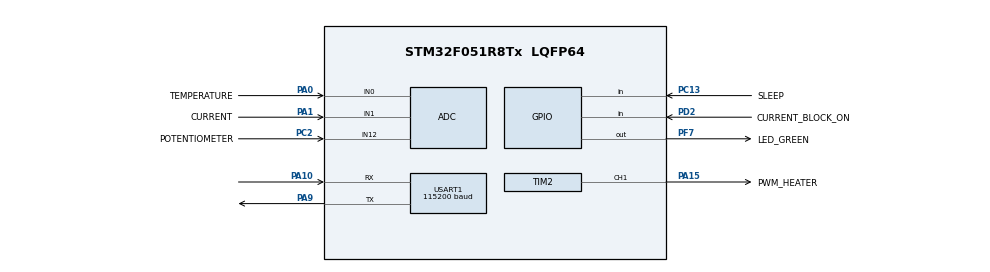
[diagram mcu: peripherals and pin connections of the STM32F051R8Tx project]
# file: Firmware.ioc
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ADC.ClockPrescaler=ADC_CLOCK_ASYNC_DIV1
ADC.ContinuousConvMode=ENABLE
ADC.DMAContinuousRequests=ENABLE
ADC.DiscontinuousConvMode=DISABLE
ADC.EOCSelection=ADC_EOC_SINGLE_CONV
ADC.ExternalTrigConv=ADC_SOFTWARE_START
ADC.Overrun=ADC_OVR_DATA_PRESERVED
ADC.SamplingTime=ADC_SAMPLETIME_239CYCLES_5
Dma.ADC.1.Direction=DMA_PERIPH_TO_MEMORY
Dma.ADC.1.Instance=DMA1_Channel1
Dma.ADC.1.MemDataAlignment=DMA_MDATAALIGN_HALFWORD
Dma.ADC.1.MemInc=DMA_MINC_ENABLE
Dma.ADC.1.Mode=DMA_CIRCULAR
Dma.ADC.1.PeriphDataAlignment=DMA_PDATAALIGN_HALFWORD
Dma.ADC.1.PeriphInc=DMA_PINC_DISABLE
Dma.ADC.1.Priority=DMA_PRIORITY_LOW
Dma.Request0=USART1_RX
Dma.Request1=ADC
Dma.USART1_RX.0.Direction=DMA_PERIPH_TO_MEMORY
Dma.USART1_RX.0.Instance=DMA1_Channel3
Dma.USART1_RX.0.MemDataAlignment=DMA_MDATAALIGN_BYTE
Dma.USART1_RX.0.MemInc=DMA_MINC_ENABLE
Dma.USART1_RX.0.Mode=DMA_NORMAL
Dma.USART1_RX.0.PeriphDataAlignment=DMA_PDATAALIGN_BYTE
Dma.USART1_RX.0.PeriphInc=DMA_PINC_DISABLE
Dma.USART1_RX.0.Priority=DMA_PRIORITY_LOW
Mcu.Family=STM32F0
Mcu.Name=STM32F051R8Tx
Mcu.Package=LQFP64
NVIC.DMA1_Channel1_IRQn=true\:0\:0\:false\:false\:true\:false\:true\:true
NVIC.DMA1_Channel2_3_IRQn=true\:0\:0\:false\:false\:true\:false\:true\:true
NVIC.TIM3_IRQn=true\:0\:0\:false\:false\:true\:true\:true\:true
NVIC.USART1_IRQn=true\:0\:0\:true\:false\:true\:true\:true\:true
PA0.GPIO_Label=TEMPERATURE
PA0.Mode=IN0
PA0.Signal=ADC_IN0
PA1.GPIO_Label=CURRENT
PA1.Mode=IN1
PA1.Signal=ADC_IN1
PA10.Mode=Asynchronous
PA10.Signal=USART1_RX
PA13.Mode=Serial_Wire
PA13.Signal=SYS_SWDIO
PA14.Mode=Serial_Wire
PA14.Signal=SYS_SWCLK
PA15.GPIO_Label=PWM_HEATER
PA15.GPIO_PuPd=GPIO_PULLDOWN
PA15.GPIO_Speed=GPIO_SPEED_FREQ_HIGH
PA15.Signal=S_TIM2_CH1_ETR
PA9.Mode=Asynchronous
PA9.Signal=USART1_TX
PC13.GPIO_Label=SLEEP
PC13.GPIO_PuPd=GPIO_PULLUP
PC13.Signal=GPIO_Input
PC2.GPIO_Label=POTENTIOMETER
PC2.Mode=IN12
PC2.Signal=ADC_IN12
PD2.GPIO_Label=CURRENT_BLOCK_ON
PD2.GPIO_PuPd=GPIO_PULLDOWN
PD2.Signal=GPIO_Input
PF0-OSC_IN.Mode=HSE-External-Oscillator
PF0-OSC_IN.Signal=RCC_OSC_IN
PF1-OSC_OUT.Mode=HSE-External-Oscillator
PF1-OSC_OUT.Signal=RCC_OSC_OUT
PF7.GPIO_Label=LED_GREEN
PF7.Signal=GPIO_Output
ProjectManager.HeapSize=0x200
ProjectManager.StackSize=0x400
ProjectManager.TargetToolchain=STM32CubeIDE
RCC.APB1Freq_Value=8000000
RCC.APB1TimFreq_Value=8000000
SH.S_TIM2_CH1_ETR.0=TIM2_CH1,PWM Generation1 CH1
TIM2.Channel-PWM\ Generation1\ CH1=TIM_CHANNEL_1
TIM2.Channel-PWM\ Generation2\ CH2=TIM_CHANNEL_2
TIM2.Period=63999
TIM2.Prescaler=1
TIM2.TIM_MasterOutputTrigger=TIM_TRGO_UPDATE
TIM2.TIM_MasterSlaveMode=TIM_MASTERSLAVEMODE_ENABLE
TIM3.Period=19999
TIM3.Prescaler=199
USART1.BaudRate=115200
USART1.VirtualMode-Asynchronous=VM_ASYNC
VP_TIM2_VS_ClockSourceINT.Mode=Internal
VP_TIM3_VS_ClockSourceINT.Mode=Internal
board=custom

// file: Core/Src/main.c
/* USER CODE BEGIN Header */
/**
  ******************************************************************************
  * @file           : main.c
  * @brief          : Main program body
  ******************************************************************************
  * @attention
  *
  * Copyright (c) 2024 STMicroelectronics.
  * All rights reserved.
  *
  * This software is licensed under terms that can be found in the LICENSE file
  * in the root directory of this software component.
  * If no LICENSE file comes with this software, it is provided AS-IS.
  *
  ******************************************************************************
  */
/* USER CODE END Header */
#include "main.h"

/* USER CODE BEGIN Includes */
#include "tools/tools.h"
/* USER CODE END Includes */

/* USER CODE BEGIN PTD */
typedef enum{
	MANUALLY_CONTROL,
	FEEDBACK_CONTROL,
	COMPUTE_MPC_MODEL,
	SAVE_REGISTER_TO_MEMORY
}OPERATIONS;
/* USER CODE END PTD */

/* USER CODE BEGIN PD */
#define row_a 1                     /* Dimension of system matrix A */
#define column_b 1                  /* Columns of input matrix B */
#define row_c 1                     /* Dimension of output matrix C */
#define column_e 1                  /* Columns of disturbance matrix E */
#define iterations 1000             /* Simulation for finding kalman gain K */
#define N 5                         /* MPC control horizon */
#define sampleTime_mpc 2.0f         /* Sample time of discrete model of MPC */
#define sampleTime_kf 1.08f         /* Sample time of discrete model of KF */
#define MAX_PARAMETERS 49           /* Total elements for the modbus parameters */
/* USER CODE END PD */

ADC_HandleTypeDef hadc;
DMA_HandleTypeDef hdma_adc;

TIM_HandleTypeDef htim2;
TIM_HandleTypeDef htim3;

UART_HandleTypeDef huart1;
DMA_HandleTypeDef hdma_usart1_rx;

/* USER CODE BEGIN PV */
MPC mpc = { 0 };
float y[row_c] = { 0 };
float u[column_b] = { 0 };
static const float d[column_e] = { 0 };
float r[row_c] = { 0 };
float steady_state_model_error = 0;
uint16_t iteration_time_ms = 0;
uint16_t setpoint_raw = 0;
bool PWM_active = false;
bool sleep = false;

/* UART data */
uint8_t UART_RX_DATA[51]; /* Because nanoMODBUS has its buffert at 50 bytes */
static const uint8_t UART_RX_DATA_SIZE = sizeof(UART_RX_DATA);
uint8_t current_modbus_index = 0;

/* ADC data */
uint16_t ADC_DATA[3];
static const uint8_t ADC_DATA_SIZE = sizeof(ADC_DATA) / sizeof(ADC_DATA[0]);
/* USER CODE END PV */

void SystemClock_Config(void);
static void MX_GPIO_Init(void);
static void MX_DMA_Init(void);
static void MX_ADC_Init(void);
static void MX_TIM2_Init(void);
static void MX_USART1_UART_Init(void);
static void MX_TIM3_Init(void);

/* USER CODE BEGIN 0 */

int32_t UART_read(const char port[], uint8_t* buf, uint16_t count, int32_t byte_timeout_ms) {
	memcpy(buf, UART_RX_DATA + current_modbus_index, count);
	current_modbus_index += count;
	return count;
}

int32_t UART_write(const char port[], const uint8_t* buf, uint16_t count, int32_t byte_timeout_ms) {
	HAL_StatusTypeDef status = HAL_UART_Transmit(&huart1, buf, count, byte_timeout_ms);
	return status == HAL_OK ? count : 0;
}

void write_initial_memory(){
	  uint16_t* PARAMETERS = modbus_server_get_parameters_array();
	  if(Flash_Write_Data(PARAMETERS, MAX_PARAMETERS) == HAL_ERROR){
		  Error_Handler();
	  }
}

void compute_mpc_model(){
	/* Read the calibration parameters */
	const uint16_t* PARAMETERS = modbus_server_get_parameters_array();
	const uint16_t A_LSB = PARAMETERS[18];
	const uint16_t A_MSB = PARAMETERS[19];
	const uint16_t B_LSB = PARAMETERS[20];
	const uint16_t B_MSB = PARAMETERS[21];
	const uint16_t qw_LSB = PARAMETERS[22];
	const uint16_t qw_MSB = PARAMETERS[23];
	const uint16_t rv_LSB = PARAMETERS[24];
	const uint16_t rv_MSB = PARAMETERS[25];
	const uint16_t qz_LSB = PARAMETERS[26];
	const uint16_t qz_MSB = PARAMETERS[27];
	const uint16_t s_LSB = PARAMETERS[28];
	const uint16_t s_MSB = PARAMETERS[29];
	const uint16_t Spsi_spsi_LSB = PARAMETERS[30];
	const uint16_t Spsi_spsi_MSB = PARAMETERS[31];
	const uint16_t alpha_LSB = PARAMETERS[32];
	const uint16_t alpha_MSB = PARAMETERS[33];
	const uint16_t antiwindup_LSB = PARAMETERS[34];
	const uint16_t antiwindup_MSB = PARAMETERS[35];
	const uint16_t umin_LSB = PARAMETERS[36];
	const uint16_t umin_MSB = PARAMETERS[37];
	const uint16_t umax_LSB = PARAMETERS[38];
	const uint16_t umax_MSB = PARAMETERS[39];
	const uint16_t steady_state_model_error_LSB = PARAMETERS[40];
	const uint16_t steady_state_model_error_MSB = PARAMETERS[41];
	const uint16_t zmax_LSB = PARAMETERS[42];
	const uint16_t zmax_MSB = PARAMETERS[43];
	const uint16_t deltaumin_LSB = PARAMETERS[44];
	const uint16_t deltaumin_MSB = PARAMETERS[45];
	const uint16_t deltaumax_LSB = PARAMETERS[46];
	const uint16_t deltaumax_MSB = PARAMETERS[47];

	/* Declare matrices */
	const float A[row_a * row_a] = { uint16_to_float(A_MSB, A_LSB) };
	const float B[row_a * column_b] = { uint16_to_float(B_MSB, B_LSB) };
	const float C[row_c * row_a] = { 1.0f };	/* We assume that the state x is the same as output y */
	const float E[row_a * column_e] = { 0.0f };	/* We have no disturbance model */

	/* Declare parameters  */
	const float qw = uint16_to_float(qw_MSB, qw_LSB); /* Kalman scalar for disturbance covariance matrix Q */
	const float rv = uint16_to_float(rv_MSB, rv_LSB); /* Kalman scalar for noise covariance matrix R */
	const float qz = uint16_to_float(qz_MSB, qz_LSB); /* Weight scalar for weight matrix QZ */
	const float s = uint16_to_float(s_MSB, s_LSB); /* Regularization scalar for regularization matrix S */
	const float Spsi_spsi = uint16_to_float(Spsi_spsi_MSB, Spsi_spsi_LSB); /* Slack variable scalar for slack variable matrix Spsi and slack vector spsi */
	const float alpha = uint16_to_float(alpha_MSB, alpha_LSB); /* Integral action constant */
	const float antiwindup = uint16_to_float(antiwindup_MSB, antiwindup_LSB); /* Anti-windup max/min limitation for the integral action */

	/* Declare constraints */
	const float umin[column_b] = { uint16_to_float(umin_MSB, umin_LSB) };
	const float umax[column_b] = { uint16_to_float(umax_MSB, umax_LSB) };
	const float zmin[column_b] = { 0 }; /* We assume that we won't solder below zero */
	const float zmax[column_b] = { uint16_to_float(zmax_MSB, zmax_LSB) };
	const float deltaumin[column_b] = { uint16_to_float(deltaumin_MSB, deltaumin_LSB) };
	const float deltaumax[column_b] = { uint16_to_float(deltaumax_MSB, deltaumax_LSB) };

	/* For the integral action */
	steady_state_model_error = uint16_to_float(steady_state_model_error_MSB, steady_state_model_error_LSB);

	/* Free the pointer arrays inside MPC structure - Ignored if not initialized */
	mpc_free(&mpc);

	/* Initialize the MPC structure */
	mpc_init(&mpc, A, B, C, E, sampleTime_mpc, sampleTime_kf, qw, rv, qz, s, Spsi_spsi, row_a, column_b, row_c, column_e, N, iterations);

	/* Set constraints */
	mpc_set_constraints(&mpc, umin, umax, zmin, zmax, deltaumin, deltaumax, alpha, antiwindup);
}

void read_uart(){
	/* Read the modbus data */
	current_modbus_index = 0;
	modbus_server_polling();
}

void read_temperature(){
	/* Read the calibration parameters */
	const uint16_t* PARAMETERS = modbus_server_get_parameters_array();
	const uint16_t minTemperatureRaw = PARAMETERS[6];
	const uint16_t maxTemperatureRaw = PARAMETERS[7];
	const uint16_t minTemperatureReal_LSB = PARAMETERS[8];
	const uint16_t minTemperatureReal_MSB = PARAMETERS[9];
	const uint16_t maxTemperatureReal_LSB = PARAMETERS[10];
	const uint16_t maxTemperatureReal_MSB = PARAMETERS[11];

	/* Read the raw temperature value */
	const uint16_t temperature_raw = ADC_DATA[0];

	/* Calibrate the raw temperature value */
	y[0] = calibrate_value(temperature_raw, minTemperatureRaw, maxTemperatureRaw, minTemperatureReal_LSB, minTemperatureReal_MSB, maxTemperatureReal_LSB, maxTemperatureReal_MSB);

	/* Save it to the analog inputs for Modbus */
	uint16_t* ANALOG_INPUTS = modbus_server_get_analog_inputs();
	ANALOG_INPUTS[0] = temperature_raw;
	float_to_uint16(y[0], &ANALOG_INPUTS[4], &ANALOG_INPUTS[3]);
}

void read_current(){
	/* Read the calibration parameters */
	const uint16_t* PARAMETERS = modbus_server_get_parameters_array();
	const uint16_t minCurrentRaw = PARAMETERS[12];
	const uint16_t maxCurrentRaw = PARAMETERS[13];
	const uint16_t minCurrentReal_LSB = PARAMETERS[14];
	const uint16_t minCurrentReal_MSB = PARAMETERS[15];
	const uint16_t maxCurrentReal_LSB = PARAMETERS[16];
	const uint16_t maxCurrentReal_MSB = PARAMETERS[17];

	/* Read the raw current */
	const uint16_t current_raw = ADC_DATA[1];

	/* Calibrate current */
	const float current = calibrate_value(current_raw, minCurrentRaw, maxCurrentRaw, minCurrentReal_LSB, minCurrentReal_MSB, maxCurrentReal_LSB, maxCurrentReal_MSB);

	/* Set analog inputs */
	uint16_t* ANALOG_INPUTS = modbus_server_get_analog_inputs();
	ANALOG_INPUTS[2] = current_raw;
	float_to_uint16(current, &ANALOG_INPUTS[8], &ANALOG_INPUTS[7]);
}

void read_sleep(){
	/* Check if we have placed the soldering tip into holder. This GPIO has a internal pull-up activated. That's why the ! sign */
	sleep = !(HAL_GPIO_ReadPin(SLEEP_GPIO_Port, SLEEP_Pin) == GPIO_PIN_SET);
}

void read_everything_else(){
	/* Read the calibration parameters */
	const uint16_t* PARAMETERS = modbus_server_get_parameters_array();
	const uint16_t minSetpointRaw = PARAMETERS[0];
	const uint16_t maxSetpointRaw = PARAMETERS[1];
	const uint16_t minSetpointReal_LSB = PARAMETERS[2];
	const uint16_t minSetpointReal_MSB = PARAMETERS[3];
	const uint16_t maxSetpointReal_LSB = PARAMETERS[4];
	const uint16_t maxSetpointReal_MSB = PARAMETERS[5];

	/* Read the raw setpoint */
	setpoint_raw = ADC_DATA[2];

	/* Calibrate setpoint - Only if sleep is not active */
	r[0] = calibrate_value(setpoint_raw, minSetpointRaw, maxSetpointRaw, minSetpointReal_LSB, minSetpointReal_MSB, maxSetpointReal_LSB, maxSetpointReal_MSB);

	/* Check if we have touch our current limit */
	const bool current_block_on = HAL_GPIO_ReadPin(CURRENT_BLOCK_ON_GPIO_Port, CURRENT_BLOCK_ON_Pin) == GPIO_PIN_SET;
	if(current_block_on){
		Error_Handler();
	}

	/* Save it to the analog inputs for Modbus */
	uint16_t* ANALOG_INPUTS = modbus_server_get_analog_inputs();
	ANALOG_INPUTS[1] = setpoint_raw;
	float_to_uint16(r[0], &ANALOG_INPUTS[6], &ANALOG_INPUTS[5]);
	float_to_uint16(mpc.x[0], &ANALOG_INPUTS[10], &ANALOG_INPUTS[9]);
	ANALOG_INPUTS[11] = iteration_time_ms;
	float_to_uint16(u[0], &ANALOG_INPUTS[13], &ANALOG_INPUTS[12]);

	/* Read digital outputs */
	const bool led_green = HAL_GPIO_ReadPin(LED_GREEN_GPIO_Port, LED_GREEN_Pin);

	/* Set digital outputs */
	const uint8_t digital_outputs = led_green;
	modbus_server_set_digital_outputs(&digital_outputs, 0, 1);

	/* Set digital inputs */
	const uint8_t digital_inputs = sleep;
	modbus_server_set_digital_inputs(&digital_inputs, 0, 1);
}

void HAL_TIM_PeriodElapsedCallback(TIM_HandleTypeDef* htim){
	if (htim->Instance == TIM3) {
		/* For every 2 Hz, this if-statement executes */
		if(PWM_active){
			read_temperature();
			HAL_TIM_PWM_Start(&htim2, TIM_CHANNEL_1); /* 62.5 Hz */
			PWM_active = false;
		}else{
			read_sleep();
			read_current();
			HAL_TIM_PWM_Stop(&htim2, TIM_CHANNEL_1); /* 62.5 Hz */
			PWM_active = true;
		}
		HAL_TIM_Base_Start_IT(&htim3); /* 2 Hz */
	}

	/* For other measurements */
	read_everything_else();

	/* This is important if communication can be re-establish */
	HAL_UARTEx_ReceiveToIdle_DMA(&huart1, UART_RX_DATA, UART_RX_DATA_SIZE);
	__HAL_DMA_DISABLE_IT(&hdma_usart1_rx, DMA_IT_HT);
}

void HAL_UARTEx_RxEventCallback(UART_HandleTypeDef *huart, uint16_t Size){
	HAL_UARTEx_ReceiveToIdle_DMA(&huart1, UART_RX_DATA, UART_RX_DATA_SIZE);
	__HAL_DMA_DISABLE_IT(&hdma_usart1_rx, DMA_IT_HT);
	read_uart();
}

void read_initial_memory(){
	uint16_t* PARAMETERS = modbus_server_get_parameters_array();
	Flash_Read_Data(PARAMETERS, MAX_PARAMETERS);
}

/* USER CODE END 0 */

int main(void)
{

  /* MCU Configuration--------------------------------------------------------*/

  /* Reset of all peripherals, Initializes the Flash interface and the Systick. */
  HAL_Init();

  /* Configure the system clock */
  SystemClock_Config();

  /* Initialize all configured peripherals */
  MX_GPIO_Init();
  MX_DMA_Init();
  MX_ADC_Init();
  MX_TIM2_Init();
  MX_USART1_UART_Init();
  MX_TIM3_Init();
  /* USER CODE BEGIN 2 */

  /* Start nanoMODBUS with address 1 */
  modbus_set_serial_read(UART_read);
  modbus_set_serial_write(UART_write);
  modbus_set_serial_port(NULL);
  modbus_server_create_RTU(1);

  /* Read the EEPROM memory */
  read_initial_memory();

  /* Build model */
  compute_mpc_model();

  /* Default operation at start-up */
  uint16_t* PARAMETERS = modbus_server_get_parameters_array();
  uint8_t operation = FEEDBACK_CONTROL;
  PARAMETERS[48] = operation;

  /* Iteration time tick tock */
  uint16_t tick = 0, tock = 0;

  /* Start UART with IT */
  HAL_UARTEx_ReceiveToIdle_DMA(&huart1, UART_RX_DATA, UART_RX_DATA_SIZE);
  __HAL_DMA_DISABLE_IT(&hdma_usart1_rx, DMA_IT_HT);

  /* Start threads */
  HAL_TIM_PeriodElapsedCallback(&htim3);

  /* ADC calibration */
  HAL_ADC_Stop(&hadc);
  if (HAL_ADCEx_Calibration_Start(&hadc) != HAL_OK){
    Error_Handler();
  }

  /* ADC start with DMA */
  if (HAL_ADC_Start_DMA(&hadc, (uint32_t*)ADC_DATA, ADC_DATA_SIZE) != HAL_OK){
    Error_Handler();
  }

  /* Integral action */
  bool integral_action = false;

  /* USER CODE END 2 */

  /* Infinite loop */
  while (1)
  {

    /* USER CODE BEGIN 3 */

	/* Measure */
	iteration_time_ms = tick - tock;
	tock = HAL_GetTick();

	/* Optimize u, r and y are set at the timer interrupt. d is a static constant */
	switch (operation) {
	case MANUALLY_CONTROL:
		__HAL_TIM_SET_COMPARE(&htim2, TIM_CHANNEL_1, setpoint_raw);
		break;
	case FEEDBACK_CONTROL:
		if(sleep){
			/* Shut down the heat - It still takes a long time for the heat to decay */
			u[0] = 0;
		}else{
			switch (mpc_optimize(&mpc, u, r, y, d, integral_action)) {
			case STATUS_NAN:
				u[0] = 0.0f; /* MPC could not be solved - Set to zero to prevent explosion */
				break;
			case STATUS_INF:
				u[0] = 0.0f; /* MPC could not be solved - Set to zero to prevent explosion */
				break;
			default:
				/* Status OK */
				break;
			}
		}

		/* If the temperature is within steady_state_model_error - Perform integral action */
		if (fabsf(r[0] - y[0]) <= steady_state_model_error) {
			integral_action = true;
			HAL_GPIO_WritePin(LED_GREEN_GPIO_Port, LED_GREEN_Pin, GPIO_PIN_SET);
		} else {
			integral_action = false;
			HAL_GPIO_WritePin(LED_GREEN_GPIO_Port, LED_GREEN_Pin, GPIO_PIN_RESET);
		}

		/* Set control signal */
		__HAL_TIM_SET_COMPARE(&htim2, TIM_CHANNEL_1, u[0]);

		/* Estimate next state x after each update */
		mpc_estimate(&mpc, u, y, d);

		break;
	}

	/* Get the operation */
	operation = PARAMETERS[48];

	/* Execute the operation - This must be done here due to mass consumption of RAM from MPC */
	switch(operation){
	case COMPUTE_MPC_MODEL:
		compute_mpc_model();
		operation = MANUALLY_CONTROL;
		PARAMETERS[48] = MANUALLY_CONTROL;
		break;
	case SAVE_REGISTER_TO_MEMORY:
		write_initial_memory();
		operation = MANUALLY_CONTROL;
		PARAMETERS[48] = MANUALLY_CONTROL;
		break;
	default:
		break;
	}

	/* Get tick */
	tick = HAL_GetTick();
  }
  /* USER CODE END 3 */
}

void SystemClock_Config(void)
{
  RCC_OscInitTypeDef RCC_OscInitStruct = {0};
  RCC_ClkInitTypeDef RCC_ClkInitStruct = {0};
  RCC_PeriphCLKInitTypeDef PeriphClkInit = {0};

  /** Initializes the RCC Oscillators according to the specified parameters
  * in the RCC_OscInitTypeDef structure.
  */
  RCC_OscInitStruct.OscillatorType = RCC_OSCILLATORTYPE_HSI|RCC_OSCILLATORTYPE_HSI14;
  RCC_OscInitStruct.HSIState = RCC_HSI_ON;
  RCC_OscInitStruct.HSI14State = RCC_HSI14_ON;
  RCC_OscInitStruct.HSICalibrationValue = RCC_HSICALIBRATION_DEFAULT;
  RCC_OscInitStruct.HSI14CalibrationValue = 16;
  RCC_OscInitStruct.PLL.PLLState = RCC_PLL_NONE;
  if (HAL_RCC_OscConfig(&RCC_OscInitStruct) != HAL_OK)
  {
    Error_Handler();
  }

  /** Initializes the CPU, AHB and APB buses clocks
  */
  RCC_ClkInitStruct.ClockType = RCC_CLOCKTYPE_HCLK|RCC_CLOCKTYPE_SYSCLK
                              |RCC_CLOCKTYPE_PCLK1;
  RCC_ClkInitStruct.SYSCLKSource = RCC_SYSCLKSOURCE_HSI;
  RCC_ClkInitStruct.AHBCLKDivider = RCC_SYSCLK_DIV1;
  RCC_ClkInitStruct.APB1CLKDivider = RCC_HCLK_DIV1;

  if (HAL_RCC_ClockConfig(&RCC_ClkInitStruct, FLASH_LATENCY_0) != HAL_OK)
  {
    Error_Handler();
  }
  PeriphClkInit.PeriphClockSelection = RCC_PERIPHCLK_USART1;
  PeriphClkInit.Usart1ClockSelection = RCC_USART1CLKSOURCE_PCLK1;
  if (HAL_RCCEx_PeriphCLKConfig(&PeriphClkInit) != HAL_OK)
  {
    Error_Handler();
  }
}

static void MX_ADC_Init(void)
{

  ADC_ChannelConfTypeDef sConfig = {0};

  /** Configure the global features of the ADC (Clock, Resolution, Data Alignment and number of conversion)
  */
  hadc.Instance = ADC1;
  hadc.Init.ClockPrescaler = ADC_CLOCK_ASYNC_DIV1;
  hadc.Init.Resolution = ADC_RESOLUTION_12B;
  hadc.Init.DataAlign = ADC_DATAALIGN_RIGHT;
  hadc.Init.ScanConvMode = ADC_SCAN_DIRECTION_FORWARD;
  hadc.Init.EOCSelection = ADC_EOC_SINGLE_CONV;
  hadc.Init.LowPowerAutoWait = DISABLE;
  hadc.Init.LowPowerAutoPowerOff = DISABLE;
  hadc.Init.ContinuousConvMode = ENABLE;
  hadc.Init.DiscontinuousConvMode = DISABLE;
  hadc.Init.ExternalTrigConv = ADC_SOFTWARE_START;
  hadc.Init.ExternalTrigConvEdge = ADC_EXTERNALTRIGCONVEDGE_NONE;
  hadc.Init.DMAContinuousRequests = ENABLE;
  hadc.Init.Overrun = ADC_OVR_DATA_PRESERVED;
  if (HAL_ADC_Init(&hadc) != HAL_OK)
  {
    Error_Handler();
  }

  /** Configure for the selected ADC regular channel to be converted.
  */
  sConfig.Channel = ADC_CHANNEL_0;
  sConfig.Rank = ADC_RANK_CHANNEL_NUMBER;
  sConfig.SamplingTime = ADC_SAMPLETIME_239CYCLES_5;
  if (HAL_ADC_ConfigChannel(&hadc, &sConfig) != HAL_OK)
  {
    Error_Handler();
  }

  /** Configure for the selected ADC regular channel to be converted.
  */
  sConfig.Channel = ADC_CHANNEL_1;
  if (HAL_ADC_ConfigChannel(&hadc, &sConfig) != HAL_OK)
  {
    Error_Handler();
  }

  /** Configure for the selected ADC regular channel to be converted.
  */
  sConfig.Channel = ADC_CHANNEL_12;
  if (HAL_ADC_ConfigChannel(&hadc, &sConfig) != HAL_OK)
  {
    Error_Handler();
  }

}

static void MX_TIM2_Init(void)
{

  TIM_ClockConfigTypeDef sClockSourceConfig = {0};
  TIM_MasterConfigTypeDef sMasterConfig = {0};
  TIM_OC_InitTypeDef sConfigOC = {0};

  htim2.Instance = TIM2;
  htim2.Init.Prescaler = 1;
  htim2.Init.CounterMode = TIM_COUNTERMODE_UP;
  htim2.Init.Period = 63999;
  htim2.Init.ClockDivision = TIM_CLOCKDIVISION_DIV1;
  htim2.Init.AutoReloadPreload = TIM_AUTORELOAD_PRELOAD_DISABLE;
  if (HAL_TIM_Base_Init(&htim2) != HAL_OK)
  {
    Error_Handler();
  }
  sClockSourceConfig.ClockSource = TIM_CLOCKSOURCE_INTERNAL;
  if (HAL_TIM_ConfigClockSource(&htim2, &sClockSourceConfig) != HAL_OK)
  {
    Error_Handler();
  }
  if (HAL_TIM_PWM_Init(&htim2) != HAL_OK)
  {
    Error_Handler();
  }
  sMasterConfig.MasterOutputTrigger = TIM_TRGO_UPDATE;
  sMasterConfig.MasterSlaveMode = TIM_MASTERSLAVEMODE_ENABLE;
  if (HAL_TIMEx_MasterConfigSynchronization(&htim2, &sMasterConfig) != HAL_OK)
  {
    Error_Handler();
  }
  sConfigOC.OCMode = TIM_OCMODE_PWM1;
  sConfigOC.Pulse = 0;
  sConfigOC.OCPolarity = TIM_OCPOLARITY_HIGH;
  sConfigOC.OCFastMode = TIM_OCFAST_DISABLE;
  if (HAL_TIM_PWM_ConfigChannel(&htim2, &sConfigOC, TIM_CHANNEL_1) != HAL_OK)
  {
    Error_Handler();
  }
  HAL_TIM_MspPostInit(&htim2);

}

static void MX_TIM3_Init(void)
{

  TIM_ClockConfigTypeDef sClockSourceConfig = {0};
  TIM_MasterConfigTypeDef sMasterConfig = {0};

  htim3.Instance = TIM3;
  htim3.Init.Prescaler = 199;
  htim3.Init.CounterMode = TIM_COUNTERMODE_UP;
  htim3.Init.Period = 19999;
  htim3.Init.ClockDivision = TIM_CLOCKDIVISION_DIV1;
  htim3.Init.AutoReloadPreload = TIM_AUTORELOAD_PRELOAD_DISABLE;
  if (HAL_TIM_Base_Init(&htim3) != HAL_OK)
  {
    Error_Handler();
  }
  sClockSourceConfig.ClockSource = TIM_CLOCKSOURCE_INTERNAL;
  if (HAL_TIM_ConfigClockSource(&htim3, &sClockSourceConfig) != HAL_OK)
  {
    Error_Handler();
  }
  sMasterConfig.MasterOutputTrigger = TIM_TRGO_RESET;
  sMasterConfig.MasterSlaveMode = TIM_MASTERSLAVEMODE_DISABLE;
  if (HAL_TIMEx_MasterConfigSynchronization(&htim3, &sMasterConfig) != HAL_OK)
  {
    Error_Handler();
  }

}

static void MX_USART1_UART_Init(void)
{

  huart1.Instance = USART1;
  huart1.Init.BaudRate = 115200;
  huart1.Init.WordLength = UART_WORDLENGTH_8B;
  huart1.Init.StopBits = UART_STOPBITS_1;
  huart1.Init.Parity = UART_PARITY_NONE;
  huart1.Init.Mode = UART_MODE_TX_RX;
  huart1.Init.HwFlowCtl = UART_HWCONTROL_NONE;
  huart1.Init.OverSampling = UART_OVERSAMPLING_16;
  huart1.Init.OneBitSampling = UART_ONE_BIT_SAMPLE_DISABLE;
  huart1.AdvancedInit.AdvFeatureInit = UART_ADVFEATURE_NO_INIT;
  if (HAL_UART_Init(&huart1) != HAL_OK)
  {
    Error_Handler();
  }

}

static void MX_DMA_Init(void)
{

  /* DMA controller clock enable */
  __HAL_RCC_DMA1_CLK_ENABLE();

  /* DMA interrupt init */
  /* DMA1_Channel1_IRQn interrupt configuration */
  HAL_NVIC_SetPriority(DMA1_Channel1_IRQn, 0, 0);
  HAL_NVIC_EnableIRQ(DMA1_Channel1_IRQn);
  /* DMA1_Channel2_3_IRQn interrupt configuration */
  HAL_NVIC_SetPriority(DMA1_Channel2_3_IRQn, 0, 0);
  HAL_NVIC_EnableIRQ(DMA1_Channel2_3_IRQn);

}

static void MX_GPIO_Init(void)
{
  GPIO_InitTypeDef GPIO_InitStruct = {0};

  /* GPIO Ports Clock Enable */
  __HAL_RCC_GPIOC_CLK_ENABLE();
  __HAL_RCC_GPIOF_CLK_ENABLE();
  __HAL_RCC_GPIOA_CLK_ENABLE();
  __HAL_RCC_GPIOD_CLK_ENABLE();

  /*Configure GPIO pin Output Level */
  HAL_GPIO_WritePin(LED_GREEN_GPIO_Port, LED_GREEN_Pin, GPIO_PIN_RESET);

  /*Configure GPIO pin : SLEEP_Pin */
  GPIO_InitStruct.Pin = SLEEP_Pin;
  GPIO_InitStruct.Mode = GPIO_MODE_INPUT;
  GPIO_InitStruct.Pull = GPIO_PULLUP;
  HAL_GPIO_Init(SLEEP_GPIO_Port, &GPIO_InitStruct);

  /*Configure GPIO pin : LED_GREEN_Pin */
  GPIO_InitStruct.Pin = LED_GREEN_Pin;
  GPIO_InitStruct.Mode = GPIO_MODE_OUTPUT_PP;
  GPIO_InitStruct.Pull = GPIO_NOPULL;
  GPIO_InitStruct.Speed = GPIO_SPEED_FREQ_LOW;
  HAL_GPIO_Init(LED_GREEN_GPIO_Port, &GPIO_InitStruct);

  /*Configure GPIO pin : CURRENT_BLOCK_ON_Pin */
  GPIO_InitStruct.Pin = CURRENT_BLOCK_ON_Pin;
  GPIO_InitStruct.Mode = GPIO_MODE_INPUT;
  GPIO_InitStruct.Pull = GPIO_PULLDOWN;
  HAL_GPIO_Init(CURRENT_BLOCK_ON_GPIO_Port, &GPIO_InitStruct);

}

void Error_Handler(void)
{
  /* USER CODE BEGIN Error_Handler_Debug */
  /* User can add his own implementation to report the HAL error return state */
  __disable_irq();
  while (1)
  {
	  /* Blink green if something went wrong - HAL_Delay() won't work here! */
	  for(long i = 0; i < 100000; i++){
		  HAL_GPIO_WritePin(LED_GREEN_GPIO_Port, LED_GREEN_Pin, GPIO_PIN_RESET);
	  };
	  for(long i = 0; i < 100000; i++){
		  HAL_GPIO_WritePin(LED_GREEN_GPIO_Port, LED_GREEN_Pin, GPIO_PIN_SET);
	  };
  }
  /* USER CODE END Error_Handler_Debug */
}
